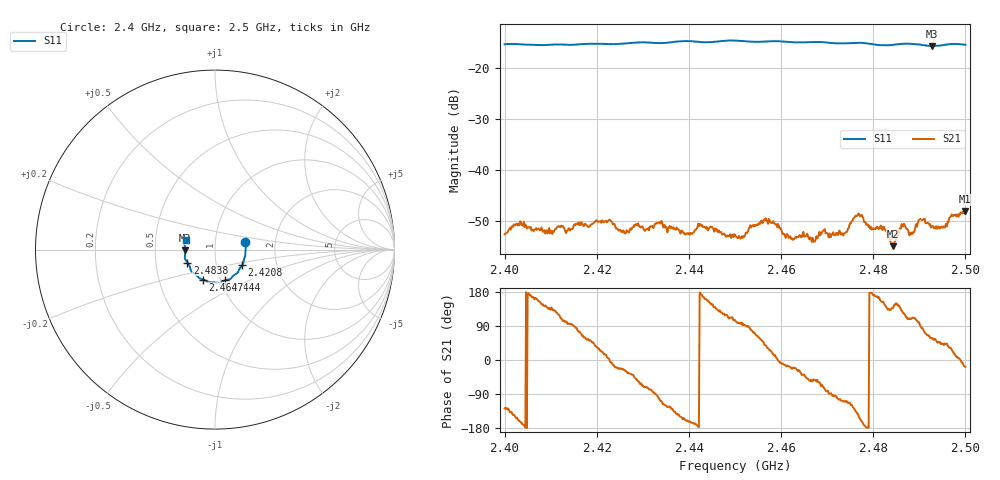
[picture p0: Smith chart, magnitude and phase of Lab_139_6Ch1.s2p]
# Hz S RI R 50
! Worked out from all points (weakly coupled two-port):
!   601 points, 2.4 GHz to 2.5 GHz, reference 50 ohm
!   highest |S21| = -48.04 dB at 2.4998 GHz (marker M1); lowest = -54.8 dB at 2.4843 GHz (marker M2)
!   lowest |S11| = -15.6 dB at 2.4928 GHz (marker M3), VSWR 1.40, Z = 35.8 - j0.341 ohm
!   |S11| at or under -10 dB: start of sweep to end of sweep
!   S12 and S22 are empty: the file has one direction only
!   S11 on the Smith chart (normalised r, x): 2.4 GHz: 1.40, +0.12; 2.4208 GHz: 1.33, -0.24; 2.444 GHz: 1.06, -0.37; 2.4647 GHz: 0.83, -0.29; 2.4838 GHz: 0.73, -0.11; 2.5 GHz: 0.72, +0.08
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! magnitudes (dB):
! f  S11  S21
! 2.4 GHz  -15.3  -52.5
! 2.403 GHz  -15.2  -50.5
! 2.4098 GHz  -15.4  -52.3
! 2.4167 GHz  -15.2  -50.2
! 2.4208 GHz  -15.2  -49.9
! 2.4258 GHz  -15.1  -51.8
! 2.4333 GHz  -15.0  -50.3
! 2.4397 GHz  -14.6  -52.3
! 2.444 GHz  -14.9  -51.6
! 2.45 GHz  -14.5  -52.6
! 2.4568 GHz  -14.7  -49.6
! 2.4647 GHz  -14.9  -52.6
! 2.4667 GHz  -14.8  -54.0
! 2.4738 GHz  -15.1  -52.3
! 2.477 GHz  -15.0  -48.8
! 2.4833 GHz  -15.4  -53.2
! 2.4838 GHz  -15.4  -54.2
! 2.4843 GHz  -15.4  -54.8
! 2.4863 GHz  -15.2  -51.0
! 2.4928 GHz  -15.6  -50.9
! 2.4998 GHz  -15.3  -48.0
! 2.5 GHz  -15.4  -48.4
